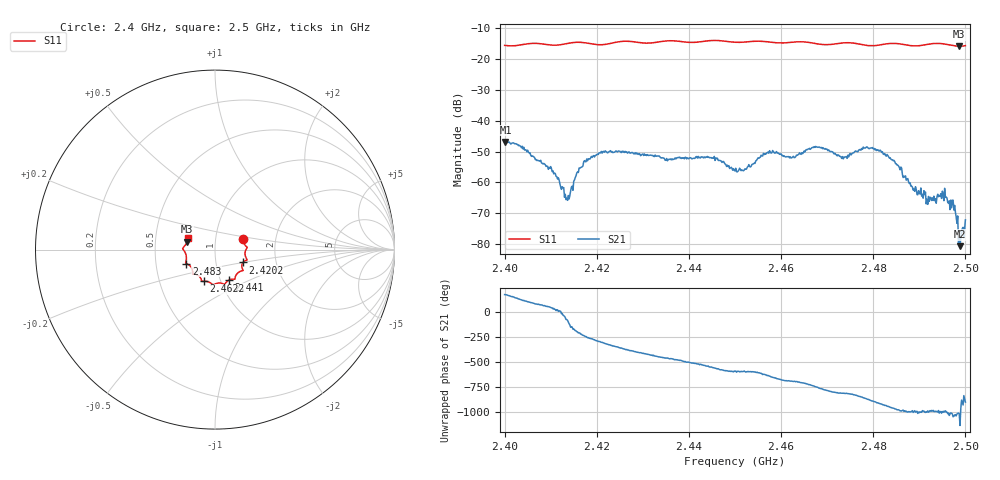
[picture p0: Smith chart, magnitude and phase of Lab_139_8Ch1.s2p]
# Hz S RI R 50
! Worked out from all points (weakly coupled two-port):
!   601 points, 2.4 GHz to 2.5 GHz, reference 50 ohm
!   highest |S21| = -46.88 dB at 2.4002 GHz (marker M1); lowest = -80.7 dB at 2.4988 GHz (marker M2)
!   lowest |S11| = -15.8 dB at 2.4987 GHz (marker M3), VSWR 1.39, Z = 36.4 + j3.32 ohm
!   |S11| at or under -10 dB: start of sweep to end of sweep
!   S12 and S22 are empty: the file has one direction only
!   S11 on the Smith chart (normalised r, x): 2.4 GHz: 1.36, +0.17; 2.4202 GHz: 1.35, -0.20; 2.441 GHz: 1.09, -0.39; 2.4622 GHz: 0.83, -0.30; 2.483 GHz: 0.72, -0.12; 2.5 GHz: 0.73, +0.09
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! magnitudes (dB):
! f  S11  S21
! 2.4 GHz  -15.5  -47.1
! 2.4002 GHz  -15.6  -46.9
! 2.4097 GHz  -15.4  -55.2
! 2.4135 GHz  -15.0  -65.2
! 2.4167 GHz  -14.6  -55.1
! 2.4202 GHz  -15.3  -50.9
! 2.4333 GHz  -14.4  -51.5
! 2.441 GHz  -14.6  -52.2
! 2.45 GHz  -14.5  -56.3
! 2.4572 GHz  -14.4  -50.2
! 2.4622 GHz  -14.5  -52.1
! 2.4667 GHz  -14.7  -48.8
! 2.4735 GHz  -14.7  -52.4
! 2.4783 GHz  -15.5  -48.8
! 2.483 GHz  -15.0  -50.9
! 2.4833 GHz  -15.0  -51.7
! 2.492 GHz  -15.1  -64.6
! 2.4955 GHz  -15.1  -61.9
! 2.4973 GHz  -15.6  -65.8
! 2.4987 GHz  -15.8  -77.8
! 2.4988 GHz  -15.8  -80.7
! 2.5 GHz  -15.6  -72.2
